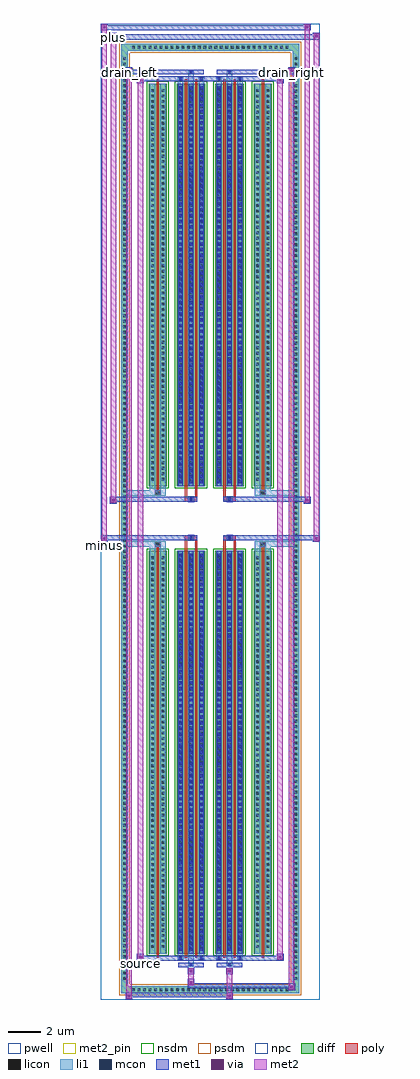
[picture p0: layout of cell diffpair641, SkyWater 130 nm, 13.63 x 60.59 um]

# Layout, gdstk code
import gdstk
lib = gdstk.Library(unit=1e-6, precision=5e-09)
def R(c, l, rs):  # rectangles x0, y0, x1, y1
    for r in rs: c.add(gdstk.rectangle(r[:2], r[2:], *l))
def A(c, l, x, y, w, h, nx, ny, dx, dy):  # array of equal rectangles
    R(c, l, [(x+i*dx, y+j*dy, x+i*dx+w, y+j*dy+h) for i in range(nx) for j in range(ny)])
def P(c, l, *ps):  # polygons
    for p in ps: c.add(gdstk.Polygon(p, *l))
pwell = (64, 44)
diff = (65, 20)
poly = (66, 20)
licon = (66, 44)
li1 = (67, 20)
mcon = (67, 44)
met1 = (68, 20)
via = (68, 44)
met2_pin = (69, 16)
met2 = (69, 20)
nsdm = (93, 44)
psdm = (94, 20)
npc = (95, 20)

diffpair641 = lib.new_cell('diffpair641')
R(diffpair641, pwell, [(-6.8,-29.86,6.8,30.73), (-4.12,-28.05,-0.01,-0.825), (0.01,-28.05,4.12,-0.825), (-4.12,0.825,-0.01,28.05), (0.01,0.825,4.12,28.05)])
A(diffpair641, diff, -4.965, -29.46, 0.41, 0.41, 29, 2, 0.34, 58.51)
A(diffpair641, diff, -5.53, -28.765, 0.41, 0.41, 1, 169, 0, 0.34)
A(diffpair641, diff, 5.12, -28.765, 0.41, 0.41, 1, 169, 0, 0.34)
R(diffpair641, diff, [(-4.965,-29.46,4.965,-29.05), (-5.53,-28.765,-5.12,28.765), (5.12,-28.765,5.53,28.765), (-3.81,-27.005,-2.71,-2.005), (-2.07,-27.005,-0.32,-2.005), (0.32,-27.005,2.07,-2.005), (2.71,-27.005,3.81,-2.005), (-3.81,2.005,-2.71,27.005), (-2.07,2.005,-0.32,27.005), (0.32,2.005,2.07,27.005), (2.71,2.005,3.81,27.005), (-4.965,29.05,4.965,29.46)])
P(diffpair641, diff, [(5.53,29.46),(-5.53,29.46),(-5.53,-29.05),(-5.12,-29.05),(-5.12,29.05),(5.12,29.05),(5.12,-29.05),(-5.12,-29.05),(-5.53,-29.05),(-5.53,-29.46),(5.53,-29.46)])
R(diffpair641, poly, [(-3.335,-27.255,-3.185,-1.755), (-1.595,-27.255,-1.445,-1.755), (-0.945,-27.255,-0.795,-1.755), (0.795,-27.255,0.945,-1.755), (1.445,-27.255,1.595,-1.755), (3.185,-27.255,3.335,-1.755), (-3.425,-1.755,-3.095,-1.425), (-3.425,-1.755,-3.095,-1.425), (-1.595,-1.755,-1.445,-1.355), (-0.945,-1.755,-0.795,-1.355), (0.795,-1.755,0.945,-1.355), (1.445,-1.755,1.595,-1.355), (3.095,-1.755,3.425,-1.425), (3.095,-1.755,3.425,-1.425), (-1.595,-1.355,-0.795,-1.025), (-1.36,-1.355,-1.03,-1.025), (0.795,-1.355,1.595,-1.025), (1.03,-1.355,1.36,-1.025), (-1.595,1.025,-0.795,1.355), (-1.36,1.025,-1.03,1.355), (0.795,1.025,1.595,1.355), (1.03,1.025,1.36,1.355), (-1.595,1.355,-1.445,1.755), (-0.945,1.355,-0.795,1.755), (0.795,1.355,0.945,1.755), (1.445,1.355,1.595,1.755), (-3.425,1.425,-3.095,1.755), (-3.425,1.425,-3.095,1.755), (3.095,1.425,3.425,1.755), (3.095,1.425,3.425,1.755), (-3.335,1.755,-3.185,27.255), (-1.595,1.755,-1.445,27.255), (-0.945,1.755,-0.795,27.255), (0.795,1.755,0.945,27.255), (1.445,1.755,1.595,27.255), (3.185,1.755,3.335,27.255)])
A(diffpair641, licon, -4.845, -29.34, 0.17, 0.17, 29, 2, 0.34, 58.51)
A(diffpair641, licon, -5.41, -28.645, 0.17, 0.17, 1, 169, 0, 0.34)
A(diffpair641, licon, 5.24, -28.645, 0.17, 0.17, 1, 169, 0, 0.34)
A(diffpair641, licon, -3.67, -26.66, 0.17, 0.17, 1, 72, 0, 0.34)
A(diffpair641, licon, -3.02, -26.66, 0.17, 0.17, 1, 72, 0, 0.34)
A(diffpair641, licon, -1.93, -26.66, 0.17, 0.17, 3, 72, 0.65, 0.34)
A(diffpair641, licon, 0.46, -26.66, 0.17, 0.17, 3, 72, 0.65, 0.34)
A(diffpair641, licon, 2.85, -26.66, 0.17, 0.17, 1, 72, 0, 0.34)
A(diffpair641, licon, 3.5, -26.66, 0.17, 0.17, 1, 72, 0, 0.34)
A(diffpair641, licon, -3.67, 2.35, 0.17, 0.17, 1, 72, 0, 0.34)
A(diffpair641, licon, -3.02, 2.35, 0.17, 0.17, 1, 72, 0, 0.34)
A(diffpair641, licon, -1.93, 2.35, 0.17, 0.17, 3, 72, 0.65, 0.34)
A(diffpair641, licon, 0.46, 2.35, 0.17, 0.17, 3, 72, 0.65, 0.34)
A(diffpair641, licon, 2.85, 2.35, 0.17, 0.17, 1, 72, 0, 0.34)
A(diffpair641, licon, 3.5, 2.35, 0.17, 0.17, 1, 72, 0, 0.34)
R(diffpair641, licon, [(-3.345,-1.675,-3.175,-1.505), (3.175,-1.675,3.345,-1.505), (-1.28,-1.275,-1.11,-1.105), (1.11,-1.275,1.28,-1.105), (-1.28,1.105,-1.11,1.275), (1.11,1.105,1.28,1.275), (-3.345,1.505,-3.175,1.675), (3.175,1.505,3.345,1.675)])
A(diffpair641, li1, -4.925, -29.42, 0.33, 0.33, 29, 2, 0.34, 58.51)
A(diffpair641, li1, -5.49, -28.725, 0.33, 0.33, 1, 169, 0, 0.34)
A(diffpair641, li1, 5.16, -28.725, 0.33, 0.33, 1, 169, 0, 0.34)
A(diffpair641, li1, -2.01, -27.005, 0.33, 25, 3, 2, 0.65, 29.01)
A(diffpair641, li1, 0.38, -27.005, 0.33, 25, 3, 2, 0.65, 29.01)
A(diffpair641, li1, -1.93, -26.83, 0.17, 0.17, 3, 69, 0.65, 0.36)
A(diffpair641, li1, -1.93, -26.83, 0.17, 24.65, 3, 2, 0.65, 29.01)
A(diffpair641, li1, 0.46, -26.83, 0.17, 0.17, 3, 69, 0.65, 0.36)
A(diffpair641, li1, 0.46, -26.83, 0.17, 24.65, 3, 2, 0.65, 29.01)
A(diffpair641, li1, -3.75, -26.74, 0.33, 0.33, 1, 72, 0, 0.34)
A(diffpair641, li1, -3.1, -26.74, 0.33, 0.33, 1, 72, 0, 0.34)
A(diffpair641, li1, -2.01, -26.74, 0.33, 0.33, 3, 72, 0.65, 0.34)
A(diffpair641, li1, 0.38, -26.74, 0.33, 0.33, 3, 72, 0.65, 0.34)
A(diffpair641, li1, 2.77, -26.74, 0.33, 0.33, 1, 72, 0, 0.34)
A(diffpair641, li1, 3.42, -26.74, 0.33, 0.33, 1, 72, 0, 0.34)
A(diffpair641, li1, -1.93, 2.18, 0.17, 0.17, 3, 69, 0.65, 0.36)
A(diffpair641, li1, 0.46, 2.18, 0.17, 0.17, 3, 69, 0.65, 0.36)
A(diffpair641, li1, -3.75, 2.27, 0.33, 0.33, 1, 72, 0, 0.34)
A(diffpair641, li1, -3.1, 2.27, 0.33, 0.33, 1, 72, 0, 0.34)
A(diffpair641, li1, -2.01, 2.27, 0.33, 0.33, 3, 72, 0.65, 0.34)
A(diffpair641, li1, 0.38, 2.27, 0.33, 0.33, 3, 72, 0.65, 0.34)
A(diffpair641, li1, 2.77, 2.27, 0.33, 0.33, 1, 72, 0, 0.34)
A(diffpair641, li1, 3.42, 2.27, 0.33, 0.33, 1, 72, 0, 0.34)
R(diffpair641, li1, [(-5.53,-29.46,-5.12,-29.05), (-5.53,-29.46,-5.12,-29.05), (-5.12,-29.46,5.12,-29.05), (5.12,-29.46,5.53,-29.05), (5.12,-29.46,5.53,-29.05), (-5.53,-29.05,-5.12,29.05), (5.12,-29.05,5.53,29.05), (-1.36,-27.81,-1.03,-27.005), (-1.28,-27.81,-1.11,-27.64), (1.03,-27.81,1.36,-27.005), (1.11,-27.81,1.28,-27.64), (-2.01,-27.38,-1.68,-27.005), (-1.93,-27.38,-1.76,-27.21), (-0.71,-27.38,-0.38,-27.005), (-0.63,-27.38,-0.46,-27.21), (0.38,-27.38,0.71,-27.005), (0.46,-27.38,0.63,-27.21), (1.68,-27.38,2.01,-27.005), (1.76,-27.38,1.93,-27.21), (-3.75,-27.005,-3.42,-2.005), (-3.1,-27.005,-2.77,-2.005), (2.77,-27.005,3.1,-2.005), (3.42,-27.005,3.75,-2.005), (-3.75,-2.005,-3.42,-1.425), (-3.1,-2.005,-2.77,-1.425), (2.77,-2.005,3.1,-1.425), (3.42,-2.005,3.75,-1.425), (-5.53,-1.755,-3.425,-1.425), (-3.75,-1.755,-3.425,-1.425), (-3.425,-1.755,-3.095,-1.425), (-3.095,-1.755,-2.77,-1.425), (2.77,-1.755,3.095,-1.425), (3.095,-1.755,3.425,-1.425), (3.095,-1.755,5.53,-1.425), (3.425,-1.755,3.75,-1.425), (-1.36,-1.355,-1.03,-1.025), (1.03,-1.355,1.36,-1.025), (-1.36,1.025,-1.03,1.355), (1.03,1.025,1.36,1.355), (-5.53,1.425,-3.425,1.755), (-3.75,1.425,-3.425,1.755), (-3.75,1.425,-3.42,2.005), (-3.425,1.425,-3.095,1.755), (-3.1,1.425,-2.77,2.005), (-3.095,1.425,-2.77,1.755), (2.77,1.425,3.095,1.755), (2.77,1.425,3.1,2.005), (3.095,1.425,3.425,1.755), (3.095,1.425,5.53,1.755), (3.42,1.425,3.75,2.005), (3.425,1.425,3.75,1.755), (-3.75,2.005,-3.42,27.005), (-3.1,2.005,-2.77,27.005), (2.77,2.005,3.1,27.005), (3.42,2.005,3.75,27.005), (-2.01,27.005,-1.68,27.38), (-1.36,27.005,-1.03,27.81), (-0.71,27.005,-0.38,27.38), (0.38,27.005,0.71,27.38), (1.03,27.005,1.36,27.81), (1.68,27.005,2.01,27.38), (-1.93,27.21,-1.76,27.38), (-0.63,27.21,-0.46,27.38), (0.46,27.21,0.63,27.38), (1.76,27.21,1.93,27.38), (-1.28,27.64,-1.11,27.81), (1.11,27.64,1.28,27.81), (-5.53,29.05,-5.12,29.46), (-5.53,29.05,-5.12,29.46), (-5.12,29.05,5.12,29.46), (5.12,29.05,5.53,29.46), (5.12,29.05,5.53,29.46)])
A(diffpair641, mcon, -1.93, -26.83, 0.17, 0.17, 3, 69, 0.65, 0.36)
A(diffpair641, mcon, 0.46, -26.83, 0.17, 0.17, 3, 69, 0.65, 0.36)
A(diffpair641, mcon, -1.93, 2.18, 0.17, 0.17, 3, 69, 0.65, 0.36)
A(diffpair641, mcon, 0.46, 2.18, 0.17, 0.17, 3, 69, 0.65, 0.36)
R(diffpair641, mcon, [(-1.28,-27.81,-1.11,-27.64), (1.11,-27.81,1.28,-27.64), (-1.93,-27.38,-1.76,-27.21), (-0.63,-27.38,-0.46,-27.21), (0.46,-27.38,0.63,-27.21), (1.76,-27.38,1.93,-27.21), (-1.28,-1.275,-1.11,-1.105), (1.11,-1.275,1.28,-1.105), (-1.28,1.105,-1.11,1.275), (1.11,1.105,1.28,1.275), (-1.93,27.21,-1.76,27.38), (-0.63,27.21,-0.46,27.38), (0.46,27.21,0.63,27.38), (1.76,27.21,1.93,27.38), (-1.28,27.64,-1.11,27.81), (1.11,27.64,1.28,27.81)])
A(diffpair641, met1, -1.99, -27.005, 0.29, 25, 3, 2, 0.65, 29.01)
A(diffpair641, met1, 0.4, -27.005, 0.29, 25, 3, 2, 0.65, 29.01)
A(diffpair641, met1, -1.99, -26.89, 0.29, 0.29, 3, 69, 0.65, 0.36)
A(diffpair641, met1, 0.4, -26.89, 0.29, 0.29, 3, 69, 0.65, 0.36)
A(diffpair641, met1, -1.99, 2.12, 0.29, 0.29, 3, 69, 0.65, 0.36)
A(diffpair641, met1, 0.4, 2.12, 0.29, 0.29, 3, 69, 0.65, 0.36)
R(diffpair641, met1, [(-5.26,-29.86,-4.83,-29.43), (0.98,-29.86,1.41,-29.43), (-5.26,-29.72,1.41,-29.43), (4.83,-29.29,5.26,-28.86), (-1.41,-29.15,5.26,-28.86), (-1.41,-29.01,-0.98,-28.58), (-1.41,-28.3,-0.98,-27.87), (0.98,-28.3,1.41,-27.87), (-1.99,-27.87,-0.4,-27.58), (-1.34,-27.87,-1.05,-27.58), (0.4,-27.87,1.99,-27.58), (1.05,-27.87,1.34,-27.58), (-4.55,-27.44,-4.12,-27.01), (-4.55,-27.44,-1.99,-27.15), (-1.99,-27.44,-1.7,-27.15), (-1.99,-27.44,-0.4,-27.15), (-0.69,-27.44,-0.4,-27.15), (-0.4,-27.44,0.4,-27.15), (0.4,-27.44,0.69,-27.15), (0.4,-27.44,1.99,-27.15), (1.7,-27.44,1.99,-27.15), (1.99,-27.44,4.55,-27.15), (4.12,-27.44,4.55,-27.01), (-6.8,-1.455,-6.37,-1.025), (6.37,-1.455,6.8,-1.025), (-6.8,-1.355,-0.795,-1.025), (-1.595,-1.355,-0.795,-1.025), (0.795,-1.355,1.595,-1.025), (0.795,-1.355,6.8,-1.025), (-1.34,-1.335,-1.05,-1.045), (1.05,-1.335,1.34,-1.045), (-6.23,0.925,-5.8,1.355), (5.8,0.925,6.23,1.355), (-6.23,1.025,-1.595,1.355), (-1.595,1.025,-0.795,1.355), (0.795,1.025,1.595,1.355), (1.595,1.025,6.23,1.355), (-1.34,1.045,-1.05,1.335), (1.05,1.045,1.34,1.335), (-4.55,27.01,-4.12,27.44), (4.12,27.01,4.55,27.44), (-4.55,27.15,-1.99,27.44), (-1.99,27.15,-1.7,27.44), (-1.99,27.15,-0.4,27.44), (-0.69,27.15,-0.4,27.44), (-0.4,27.15,0.4,27.44), (0.4,27.15,0.69,27.44), (0.4,27.15,1.99,27.44), (1.7,27.15,1.99,27.44), (1.99,27.15,4.55,27.44), (-5.26,27.58,-4.83,28.01), (-5.26,27.58,-1.99,27.87), (-1.99,27.58,-0.4,27.87), (-1.34,27.58,-1.05,27.87), (0.4,27.58,1.99,27.87), (1.05,27.58,1.34,27.87), (1.99,27.58,5.26,27.87), (4.83,27.58,5.26,28.01), (-6.23,29.73,-5.8,30.16), (-6.23,29.73,-4.12,30.06), (-4.12,29.73,4.12,30.06), (4.12,29.73,6.8,30.06), (6.37,29.73,6.8,30.16), (-6.8,30.3,-6.37,30.73), (-6.8,30.3,-4.12,30.63), (-4.12,30.3,4.12,30.63), (4.12,30.3,6.23,30.63), (5.8,30.3,6.23,30.73)])
R(diffpair641, via, [(-5.12,-29.72,-4.97,-29.57), (1.12,-29.72,1.27,-29.57), (4.97,-29.15,5.12,-29), (-1.27,-28.87,-1.12,-28.72), (-1.27,-28.16,-1.12,-28.01), (1.12,-28.16,1.27,-28.01), (-4.41,-27.3,-4.26,-27.15), (4.26,-27.3,4.41,-27.15), (-6.66,-1.315,-6.51,-1.165), (6.51,-1.315,6.66,-1.165), (-6.09,1.065,-5.94,1.215), (5.94,1.065,6.09,1.215), (-4.41,27.15,-4.26,27.3), (4.26,27.15,4.41,27.3), (-5.12,27.72,-4.97,27.87), (4.97,27.72,5.12,27.87), (-6.09,29.87,-5.94,30.02), (6.51,29.87,6.66,30.02), (-6.66,30.44,-6.51,30.59), (5.94,30.44,6.09,30.59)])
R(diffpair641, met2_pin, [(-4.585,-27.89,-4.085,-27.39), (-6.835,-1.905,-6.335,-1.405), (-5.295,27.46,-4.795,27.96), (4.795,27.46,5.295,27.96), (-6.265,29.61,-5.765,30.11)])
R(diffpair641, met2, [(-5.21,-29.81,-4.88,-29.48), (-5.21,-29.81,-4.88,27.96), (1.03,-29.81,1.36,-29.48), (1.03,-29.48,1.36,-28.25), (4.88,-29.24,5.21,-28.91), (4.88,-29.24,5.21,27.96), (-1.36,-28.96,-1.03,-28.63), (-1.36,-28.63,-1.03,-28.25), (-1.36,-28.25,-1.03,-27.92), (1.03,-28.25,1.36,-27.92), (-4.5,-27.39,-4.17,-27.06), (-4.5,-27.39,-4.17,27.39), (4.17,-27.39,4.5,-27.06), (4.17,-27.39,4.5,27.39), (-6.75,-1.405,-6.42,-1.075), (-6.75,-1.405,-6.42,30.68), (6.42,-1.405,6.75,-1.075), (6.42,-1.405,6.75,30.11), (-6.18,0.975,-5.85,1.305), (-6.18,0.975,-5.85,30.11), (5.85,0.975,6.18,1.305), (5.85,0.975,6.18,30.68), (-4.5,27.06,-4.17,27.39), (4.17,27.06,4.5,27.39), (-5.21,27.63,-4.88,27.96), (4.88,27.63,5.21,27.96), (-6.18,29.78,-5.85,30.11), (6.42,29.78,6.75,30.11), (-6.75,30.35,-6.42,30.68), (5.85,30.35,6.18,30.68)])
P(diffpair641, met2, [(6.75,-1.405),(6.75,-1.405),(6.75,-1.075),(6.75,-1.075)],
  [(6.75,29.78),(6.75,29.78),(6.75,30.11),(6.75,30.11)],
  [(-6.42,-1.405),(-6.42,-1.405),(-6.42,-1.075),(-6.42,-1.075)],
  [(-6.42,30.35),(-6.42,30.35),(-6.42,30.68),(-6.42,30.68)],
  [(6.18,0.975),(6.18,0.975),(6.18,1.305),(6.18,1.305)],
  [(6.18,30.35),(6.18,30.35),(6.18,30.68),(6.18,30.68)],
  [(-5.85,0.975),(-5.85,0.975),(-5.85,1.305),(-5.85,1.305)],
  [(-5.85,29.78),(-5.85,29.78),(-5.85,30.11),(-5.85,30.11)],
  [(-4.88,-29.81),(-4.88,-29.81),(-4.88,-29.48),(-4.88,-29.48)],
  [(-4.88,27.63),(-4.88,27.63),(-4.88,27.96),(-4.88,27.96)],
  [(5.21,-29.24),(5.21,-29.24),(5.21,-28.91),(5.21,-28.91)],
  [(5.21,27.63),(5.21,27.63),(5.21,27.96),(5.21,27.96)],
  [(-4.17,-27.39),(-4.17,-27.39),(-4.17,-27.06),(-4.17,-27.06)],
  [(-4.17,27.06),(-4.17,27.06),(-4.17,27.39),(-4.17,27.39)],
  [(4.5,-27.39),(4.5,-27.39),(4.5,-27.06),(4.5,-27.06)],
  [(4.5,27.06),(4.5,27.06),(4.5,27.39),(4.5,27.39)])
R(diffpair641, nsdm, [(-3.94,-27.135,-2.58,-1.875), (-2.2,-27.135,-0.19,-1.875), (0.19,-27.135,2.2,-1.875), (2.58,-27.135,3.94,-1.875), (-3.94,1.875,-2.58,27.135), (-2.2,1.875,-0.19,27.135), (0.19,1.875,2.2,27.135), (2.58,1.875,3.94,27.135)])
P(diffpair641, psdm, [(5.66,29.59),(-5.66,29.59),(-5.66,-28.92),(-4.99,-28.92),(-4.99,28.92),(4.99,28.92),(4.99,-28.92),(-4.99,-28.92),(-5.66,-28.92),(-5.66,-29.59),(5.66,-29.59)])
R(diffpair641, npc, [(-3.445,-1.775,-3.075,-1.405), (3.075,-1.775,3.445,-1.405), (-1.38,-1.375,-1.01,-1.005), (1.01,-1.375,1.38,-1.005), (-1.38,1.005,-1.01,1.375), (1.01,1.005,1.38,1.375), (-3.445,1.405,-3.075,1.775), (3.075,1.405,3.445,1.775)])
diffpair641.add(gdstk.Label('minus', (-6.585,-1.655), layer=69, texttype=5))
diffpair641.add(gdstk.Label('drain_right', (5.045,27.71), layer=69, texttype=5))
diffpair641.add(gdstk.Label('drain_left', (-5.045,27.71), layer=69, texttype=5))
diffpair641.add(gdstk.Label('source', (-4.335,-27.64), layer=69, texttype=5))
diffpair641.add(gdstk.Label('plus', (-6.015,29.86), layer=69, texttype=5))

lib.write_gds('diffpair641.gds')
